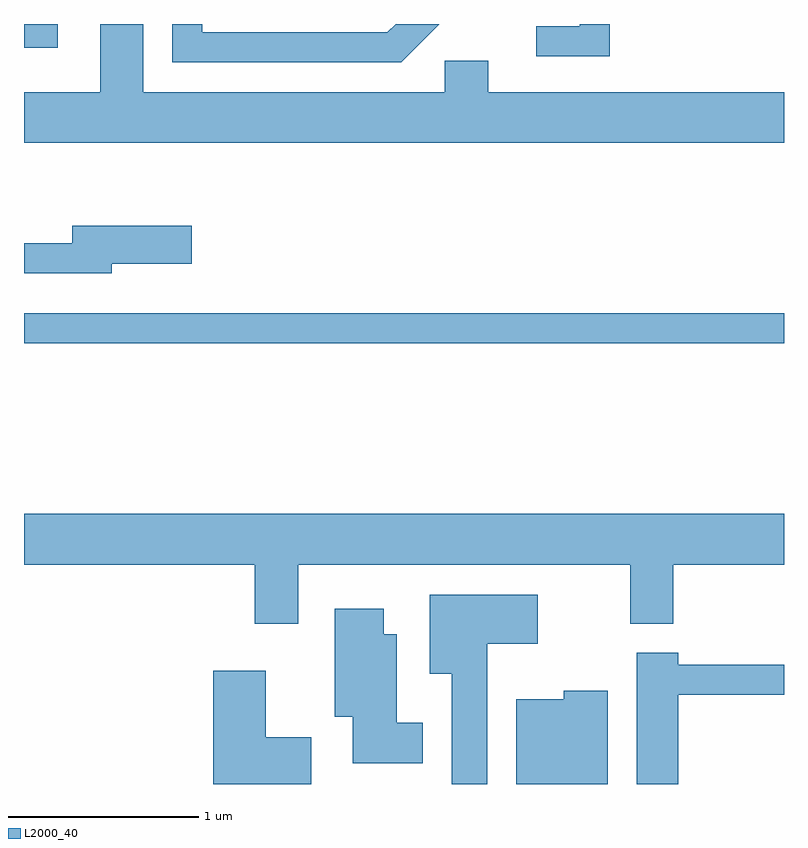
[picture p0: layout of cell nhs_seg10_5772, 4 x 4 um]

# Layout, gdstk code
import gdstk
lib = gdstk.Library(unit=1e-6, precision=1e-09)
def R(c, l, rs):  # rectangles x0, y0, x1, y1
    for r in rs: c.add(gdstk.rectangle(r[:2], r[2:], *l))
def P(c, l, *ps):  # polygons
    for p in ps: c.add(gdstk.Polygon(p, *l))
L2000_40 = (2000, 40)

nhs_seg10_5772 = lib.new_cell('nhs_seg10_5772')
R(nhs_seg10_5772, L2000_40, [(355.611,2132.841,359.611,2132.999), (355.611,2134.396,355.788,2134.522)])
P(nhs_seg10_5772, L2000_40, [(359.611,2134.164),(358.054,2134.164),(358.054,2134.329),(357.826,2134.329),(357.826,2134.164),(356.239,2134.164),(356.239,2134.522),(356.011,2134.522),(356.011,2134.164),(355.611,2134.164),(355.611,2133.896),(359.611,2133.896)],
  [(357.797,2134.522),(357.567,2134.522),(357.524,2134.479),(356.549,2134.479),(356.549,2134.522),(356.391,2134.522),(356.391,2134.321),(357.597,2134.321)],
  [(358.694,2134.522),(358.536,2134.522),(358.536,2134.509),(358.308,2134.509),(358.308,2134.351),(358.694,2134.351)],
  [(356.074,2133.261),(356.494,2133.261),(356.494,2133.459),(355.866,2133.459),(355.866,2133.369),(355.611,2133.369),(355.611,2133.211),(356.074,2133.211)],
  [(357.054,2131.676),(358.801,2131.676),(358.801,2131.366),(359.029,2131.366),(359.029,2131.676),(359.611,2131.676),(359.611,2131.944),(355.611,2131.944),(355.611,2131.676),(356.826,2131.676),(356.826,2131.366),(357.054,2131.366)],
  [(358.049,2131.261),(358.314,2131.261),(358.314,2131.519),(357.746,2131.519),(357.746,2131.101),(357.861,2131.101),(357.861,2130.522),(358.049,2130.522)],
  [(357.709,2130.844),(357.574,2130.844),(357.574,2131.309),(357.504,2131.309),(357.504,2131.444),(357.246,2131.444),(357.246,2130.876),(357.341,2130.876),(357.341,2130.631),(357.709,2130.631)],
  [(359.054,2130.991),(359.611,2130.991),(359.611,2131.149),(359.054,2131.149),(359.054,2131.214),(358.836,2131.214),(358.836,2130.522),(359.054,2130.522)],
  [(357.124,2130.769),(356.884,2130.769),(356.884,2131.119),(356.606,2131.119),(356.606,2130.522),(357.124,2130.522)],
  [(358.684,2131.014),(358.451,2131.014),(358.451,2130.969),(358.201,2130.969),(358.201,2130.522),(358.684,2130.522)])

lib.write_gds('nhs_seg10_5772.gds')
